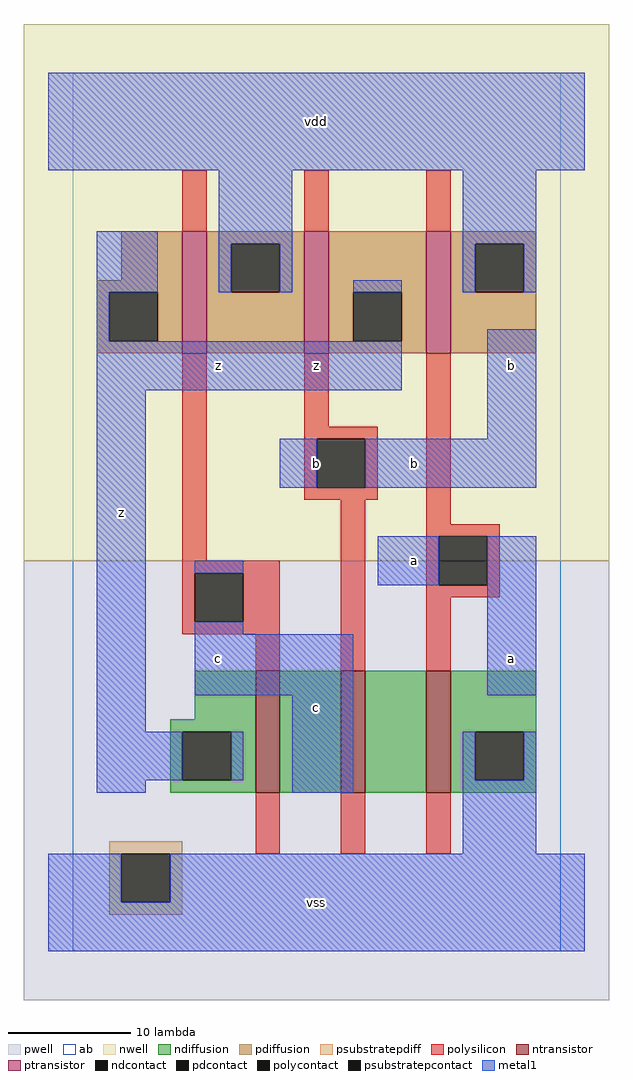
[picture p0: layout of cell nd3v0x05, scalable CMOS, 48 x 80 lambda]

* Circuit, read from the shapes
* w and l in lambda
.subckt nd3v0x05 a b c vdd vss z
M1 n1 c z vss nfet w=10 l=2
M2 n2 b n1 vss nfet w=10 l=2
M3 vss a n2 vss nfet w=10 l=2
M4 vdd c z n3 pfet w=10 l=2
M5 z b vdd n3 pfet w=10 l=2
M6 vdd a z n3 pfet w=10 l=2
.ends

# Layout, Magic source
magic
tech scmos
<< ab >>
rect 0 0 40 72
<< pwell >>
rect -4 -4 44 32
<< nwell >>
rect -4 32 44 76
<< polysilicon >>
rect 9 59 11 64
rect 19 59 21 64
rect 29 59 31 64
rect 9 32 11 49
rect 19 43 21 49
rect 19 42 25 43
rect 19 38 20 42
rect 24 38 25 42
rect 19 37 25 38
rect 9 31 17 32
rect 9 27 10 31
rect 14 27 17 31
rect 9 26 17 27
rect 15 23 17 26
rect 22 23 24 37
rect 29 35 31 49
rect 29 34 35 35
rect 29 30 30 34
rect 34 30 35 34
rect 29 29 35 30
rect 29 23 31 29
rect 15 8 17 13
rect 22 8 24 13
rect 29 8 31 13
<< ndiffusion >>
rect 10 19 15 23
rect 8 18 15 19
rect 8 14 9 18
rect 13 14 15 18
rect 8 13 15 14
rect 17 13 22 23
rect 24 13 29 23
rect 31 18 38 23
rect 31 14 33 18
rect 37 14 38 18
rect 31 13 38 14
<< pdiffusion >>
rect 4 55 9 59
rect 2 54 9 55
rect 2 50 3 54
rect 7 50 9 54
rect 2 49 9 50
rect 11 58 19 59
rect 11 54 13 58
rect 17 54 19 58
rect 11 49 19 54
rect 21 54 29 59
rect 21 50 23 54
rect 27 50 29 54
rect 21 49 29 50
rect 31 58 38 59
rect 31 54 33 58
rect 37 54 38 58
rect 31 49 38 54
<< metal1 >>
rect -2 64 42 72
rect 2 54 7 59
rect 12 58 18 64
rect 12 54 13 58
rect 17 54 18 58
rect 32 58 38 64
rect 23 54 27 55
rect 32 54 33 58
rect 37 54 38 58
rect 2 50 3 54
rect 2 46 27 50
rect 2 18 6 46
rect 34 42 38 51
rect 17 38 20 42
rect 24 38 38 42
rect 10 31 14 32
rect 25 30 30 34
rect 10 26 14 27
rect 10 21 23 26
rect 34 21 38 34
rect 2 14 9 18
rect 13 14 14 18
rect 2 13 6 14
rect 18 13 23 21
rect 32 14 33 18
rect 37 14 38 18
rect 32 8 38 14
rect -2 4 4 8
rect 8 4 42 8
rect -2 0 42 4
<< ntransistor >>
rect 15 13 17 23
rect 22 13 24 23
rect 29 13 31 23
<< ptransistor >>
rect 9 49 11 59
rect 19 49 21 59
rect 29 49 31 59
<< polycontact >>
rect 20 38 24 42
rect 10 27 14 31
rect 30 30 34 34
<< ndcontact >>
rect 9 14 13 18
rect 33 14 37 18
<< pdcontact >>
rect 3 50 7 54
rect 13 54 17 58
rect 23 50 27 54
rect 33 54 37 58
<< psubstratepcontact >>
rect 4 4 8 8
<< psubstratepdiff >>
rect 3 8 9 9
rect 3 4 4 8
rect 8 4 9 8
rect 3 3 9 4
<< labels >>
rlabel metal1 4 36 4 36 6 z
rlabel metal1 12 24 12 24 6 c
rlabel metal1 12 48 12 48 6 z
rlabel metal1 20 4 20 4 6 vss
rlabel metal1 20 20 20 20 6 c
rlabel metal1 28 32 28 32 6 a
rlabel metal1 28 40 28 40 6 b
rlabel metal1 20 40 20 40 6 b
rlabel metal1 20 48 20 48 6 z
rlabel metal1 20 68 20 68 6 vdd
rlabel metal1 36 24 36 24 6 a
rlabel metal1 36 48 36 48 6 b
<< end >>
